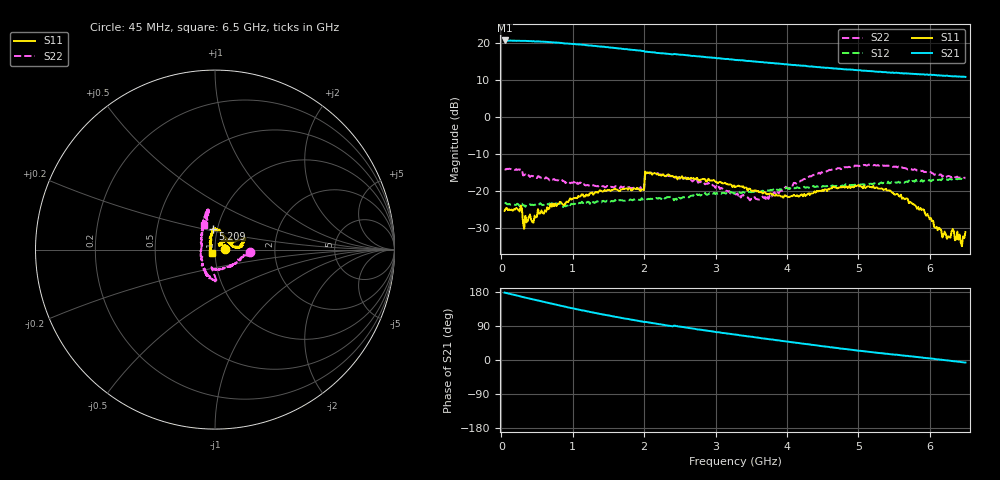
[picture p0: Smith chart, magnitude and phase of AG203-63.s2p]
! WJ Communications, Inc.
! AG203-63 InGaP HBT Gain Block
! The data is for the unmatched device in a 50 Ohm fixture, de-embedded to the device leads.
! Device bias: +4.05 V @ 20 mA -> Note a bias dropping resistor must be used for proper operation.
! Data From 20363a.s2p
# MHZ S DB R 50
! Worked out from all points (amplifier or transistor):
!   401 points, 45 MHz to 6.5 GHz, reference 50 ohm
!   highest |S21| = 20.6 dB at 45 MHz (marker M1)
!   |S21| within 3 dB of that: start of sweep to 2.009 GHz
!   unconditionally stable (mu >= 1): start of sweep to end of sweep
!   at 1.11 GHz: K = 1.09, MAG = 19.6 dB, |S12| = -23.3 dB
!   at 3.272 GHz: K = 1.18, MAG = 15.4 dB, |S12| = -20.6 dB
!   at 6.5 GHz: K = 1.21, MAG = 10.9 dB, |S12| = -16.7 dB
!   S11 on the Smith chart (normalised r, x): 45 MHz: 1.11, +0.00; 5.209 GHz: 0.95, +0.23; 6.5 GHz: 0.96, -0.04
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45  -25.37 2.2  20.59 177.8  -23.18 1.8  -14.13 -3.2
254.7875  -25.54 21.3  20.51 168.5  -24.05 5.2  -14.27 -8.8
319.3375  -30.24 42.8  20.48 165.2  -23.90 3.3  -15.75 -12.2
529.1251  -26.12 44.6  20.31 156.3  -23.64 2.0  -16.11 -19.7
803.4622  -23.39 45.9  20.01 144.6  -23.52 4.6  -17.18 -31.9
1126.212  -20.90 42.7  19.48 131.1  -22.91 3.7  -18.26 -50.0
1400.549  -19.99 36.5  18.95 121.0  -23.08 6.1  -18.65 -65.8
1594.198  -19.39 32.6  18.55 113.9  -22.44 7.2  -18.73 -76.9
1916.948  -19.47 23.2  17.89 103.4  -22.34 6.1  -19.36 -95.4
2046.047  -15.04 21.8  17.52 99.7  -22.25 8.5  -15.13 -87.0
2207.422  -15.75 17.6  17.20 94.5  -21.92 8.1  -15.68 -95.8
2368.797  -15.99 13.3  16.91 89.8  -21.59 6.7  -15.96 -102.0
2449.484  -16.11 12.8  16.86 89.4  -22.05 4.6  -16.32 -101.4
2578.584  -16.59 10.5  16.62 85.8  -21.73 5.4  -16.33 -107.3
2982.021  -17.14 8.5  15.91 74.6  -20.53 6.9  -18.69 -125.8
3288.633  -18.80 4.7  15.29 66.7  -20.50 5.5  -20.96 -144.4
3821.169  -21.28 25.3  14.45 53.1  -19.38 1.5  -20.40 147.9
4353.707  -20.65 64.0  13.56 40.0  -18.93 -5.5  -15.87 115.1
5209.007  -18.63 95.1  12.26 20.2  -18.04 -10.5  -13.09 100.3
5434.935  -19.90 98.9  11.96 15.7  -17.96 -14.2  -13.26 100.4
6209.546  -30.94 161.9  11.05 -0.2  -16.95 -21.3  -15.93 108.0
6500  -31.13 -133.5  10.76 -6.6  -16.68 -26.4  -16.45 113.5
